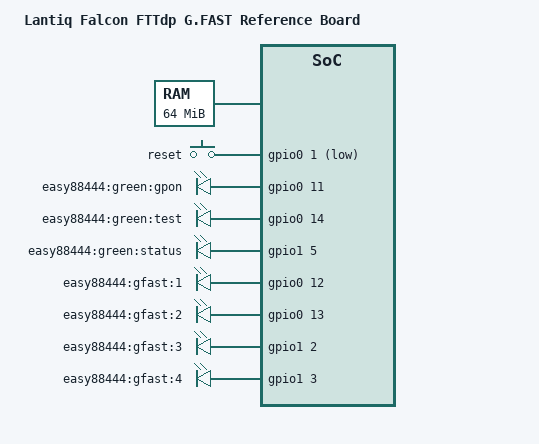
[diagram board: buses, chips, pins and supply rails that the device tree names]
/dts-v1/;

#include <dt-bindings/gpio/gpio.h>
#include "falcon.dtsi"
#include "falcon-sflash-16M.dtsi"

/ {
	model = "Lantiq Falcon FTTdp G.FAST Reference Board";
	compatible = "lantiq,easy88444", "lantiq,falcon";

	aliases {
		spi0 = &ebu_cs0;
	};

	memory@0 {
		device_type = "memory";
		reg = <0x0 0x4000000>;	// 64M at 0x0
	};

	gpio-keys {
		compatible = "gpio-keys";
		reset {
			label = "reset";
			gpios = <&gpio0 1 GPIO_ACTIVE_LOW>;
			linux,code = <0x198>;
		};
	};

	pinctrl {
		led_pins: led-pins {
			lantiq,pins = "io34", "io35", "io37";
			lantiq,function = "gpio";
		};
	};

	easy88444-leds {
		compatible = "gpio-leds";
		pinctrl-names = "default";
		pinctrl-0 = <&led_pins &bootled_pins>;

		GPON {
			label = "easy88444:green:gpon";
			gpios = <&gpio0 11 GPIO_ACTIVE_HIGH>;
		};
		TEST {
			label = "easy88444:green:test";
			gpios = <&gpio0 14 GPIO_ACTIVE_HIGH>;
		};
		STATUS {
			label = "easy88444:green:status";
			gpios = <&gpio1 5 GPIO_ACTIVE_HIGH>;
		};

		GFAST1 {
			label = "easy88444:gfast:1";
			gpios = <&gpio0 12 GPIO_ACTIVE_HIGH>;
		};
		GFAST2 {
			label = "easy88444:gfast:2";
			gpios = <&gpio0 13 GPIO_ACTIVE_HIGH>;
		};
		GFAST3 {
			label = "easy88444:gfast:3";
			gpios = <&gpio1 2 GPIO_ACTIVE_HIGH>;
		};
		GFAST4 {
			label = "easy88444:gfast:4";
			gpios = <&gpio1 3 GPIO_ACTIVE_HIGH>;
		};
	};
};

